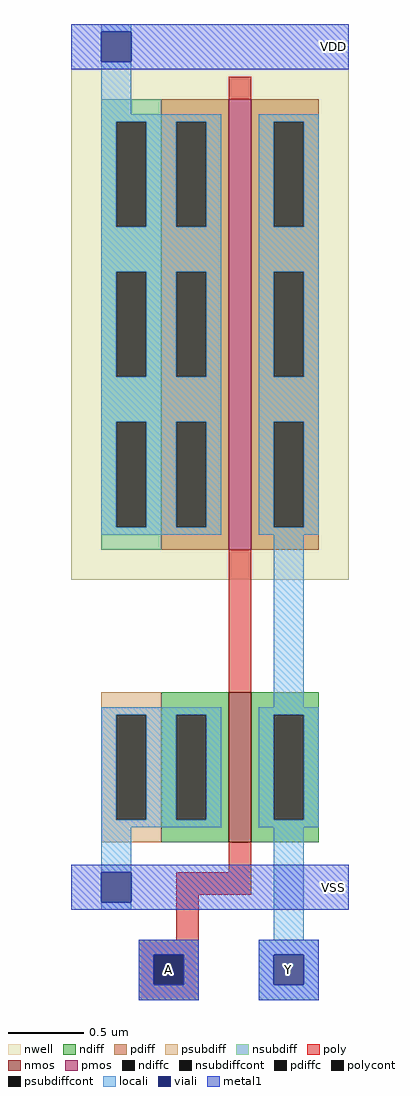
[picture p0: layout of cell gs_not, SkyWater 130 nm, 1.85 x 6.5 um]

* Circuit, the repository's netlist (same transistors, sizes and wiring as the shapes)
* NGSPICE file created from gs_not.ext - technology: sky130A

.subckt gs_not A Y VDD VSS
X0 Y A VDD VDD sky130_fd_pr__pfet_01v8 ad=1.35 pd=6.9 as=1.35 ps=6.9 w=3 l=0.15
**devattr s=54000,1380 d=54000,1380
X1 Y A VSS VSS sky130_fd_pr__nfet_01v8 ad=0.45 pd=2.9 as=0.45 ps=2.9 w=1 l=0.15
**devattr s=18000,580 d=18000,580
.ends

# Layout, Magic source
magic
tech sky130A
<< nwell >>
rect -120 175 65 515
<< nmos >>
rect -15 0 0 100
<< pmos >>
rect -15 195 0 495
<< ndiff >>
rect -60 85 -15 100
rect -60 15 -50 85
rect -30 15 -15 85
rect -60 0 -15 15
rect 0 85 45 100
rect 0 15 15 85
rect 35 15 45 85
rect 0 0 45 15
<< pdiff >>
rect -60 480 -15 495
rect -60 410 -50 480
rect -30 410 -15 480
rect -60 380 -15 410
rect -60 310 -50 380
rect -30 310 -15 380
rect -60 280 -15 310
rect -60 210 -50 280
rect -30 210 -15 280
rect -60 195 -15 210
rect 0 480 45 495
rect 0 410 15 480
rect 35 410 45 480
rect 0 380 45 410
rect 0 310 15 380
rect 35 310 45 380
rect 0 280 45 310
rect 0 210 15 280
rect 35 210 45 280
rect 0 195 45 210
<< ndiffc >>
rect -50 15 -30 85
rect 15 15 35 85
<< pdiffc >>
rect -50 410 -30 480
rect -50 310 -30 380
rect -50 210 -30 280
rect 15 410 35 480
rect 15 310 35 380
rect 15 210 35 280
<< psubdiff >>
rect -100 85 -60 100
rect -100 15 -90 85
rect -70 15 -60 85
rect -100 0 -60 15
<< nsubdiff >>
rect -100 480 -60 495
rect -100 410 -90 480
rect -70 410 -60 480
rect -100 380 -60 410
rect -100 310 -90 380
rect -70 310 -60 380
rect -100 280 -60 310
rect -100 210 -90 280
rect -70 210 -60 280
rect -100 195 -60 210
<< psubdiffcont >>
rect -90 15 -70 85
<< nsubdiffcont >>
rect -90 410 -70 480
rect -90 310 -70 380
rect -90 210 -70 280
<< poly >>
rect -15 495 0 510
rect -15 100 0 195
rect -15 -20 0 0
rect -50 -35 0 -20
rect -50 -65 -35 -35
rect -75 -75 -35 -65
rect -75 -95 -65 -75
rect -45 -95 -35 -75
rect -75 -105 -35 -95
<< polycont >>
rect -65 -95 -45 -75
<< locali >>
rect -100 540 -80 545
rect -100 485 -80 520
rect -100 480 -20 485
rect -100 410 -90 480
rect -70 410 -50 480
rect -30 410 -20 480
rect -100 380 -20 410
rect -100 310 -90 380
rect -70 310 -50 380
rect -30 310 -20 380
rect -100 280 -20 310
rect -100 210 -90 280
rect -70 210 -50 280
rect -30 210 -20 280
rect -100 205 -20 210
rect 5 480 45 485
rect 5 410 15 480
rect 35 410 45 480
rect 5 380 45 410
rect 5 310 15 380
rect 35 310 45 380
rect 5 280 45 310
rect 5 210 15 280
rect 35 210 45 280
rect 5 205 45 210
rect 15 90 35 205
rect -100 85 -20 90
rect -100 15 -90 85
rect -70 15 -50 85
rect -30 15 -20 85
rect -100 10 -20 15
rect 5 85 45 90
rect 5 15 15 85
rect 35 15 45 85
rect 5 10 45 15
rect -100 -20 -80 10
rect -100 -45 -80 -40
rect 15 -65 35 10
rect -75 -75 -35 -65
rect -75 -95 -65 -75
rect -45 -95 -35 -75
rect -75 -105 -35 -95
rect 5 -75 45 -65
rect 5 -95 15 -75
rect 35 -95 45 -75
rect 5 -105 45 -95
<< viali >>
rect -100 520 -80 540
rect -100 -40 -80 -20
rect -65 -95 -45 -75
rect 15 -95 35 -75
<< metal1 >>
rect -120 540 65 545
rect -120 520 -100 540
rect -80 520 65 540
rect -120 515 65 520
rect -120 -20 65 -15
rect -120 -40 -100 -20
rect -80 -40 65 -20
rect -120 -45 65 -40
rect -75 -75 -35 -65
rect -75 -95 -65 -75
rect -45 -95 -35 -75
rect -75 -105 -35 -95
rect 5 -75 45 -65
rect 5 -95 15 -75
rect 35 -95 45 -75
rect 5 -105 45 -95
<< labels >>
flabel metal1 5 -105 45 -65 1 FreeSans 200 0 0 -120 Y
port 2 n
flabel metal1 45 -45 65 -15 1 FreeSans 200 0 0 0 VSS
port 4 n
flabel metal1 45 515 65 545 1 FreeSans 200 0 0 0 VDD
port 3 n
flabel metal1 -75 -105 -35 -65 1 FreeSans 200 0 0 -120 A
port 1 n
<< end >>
